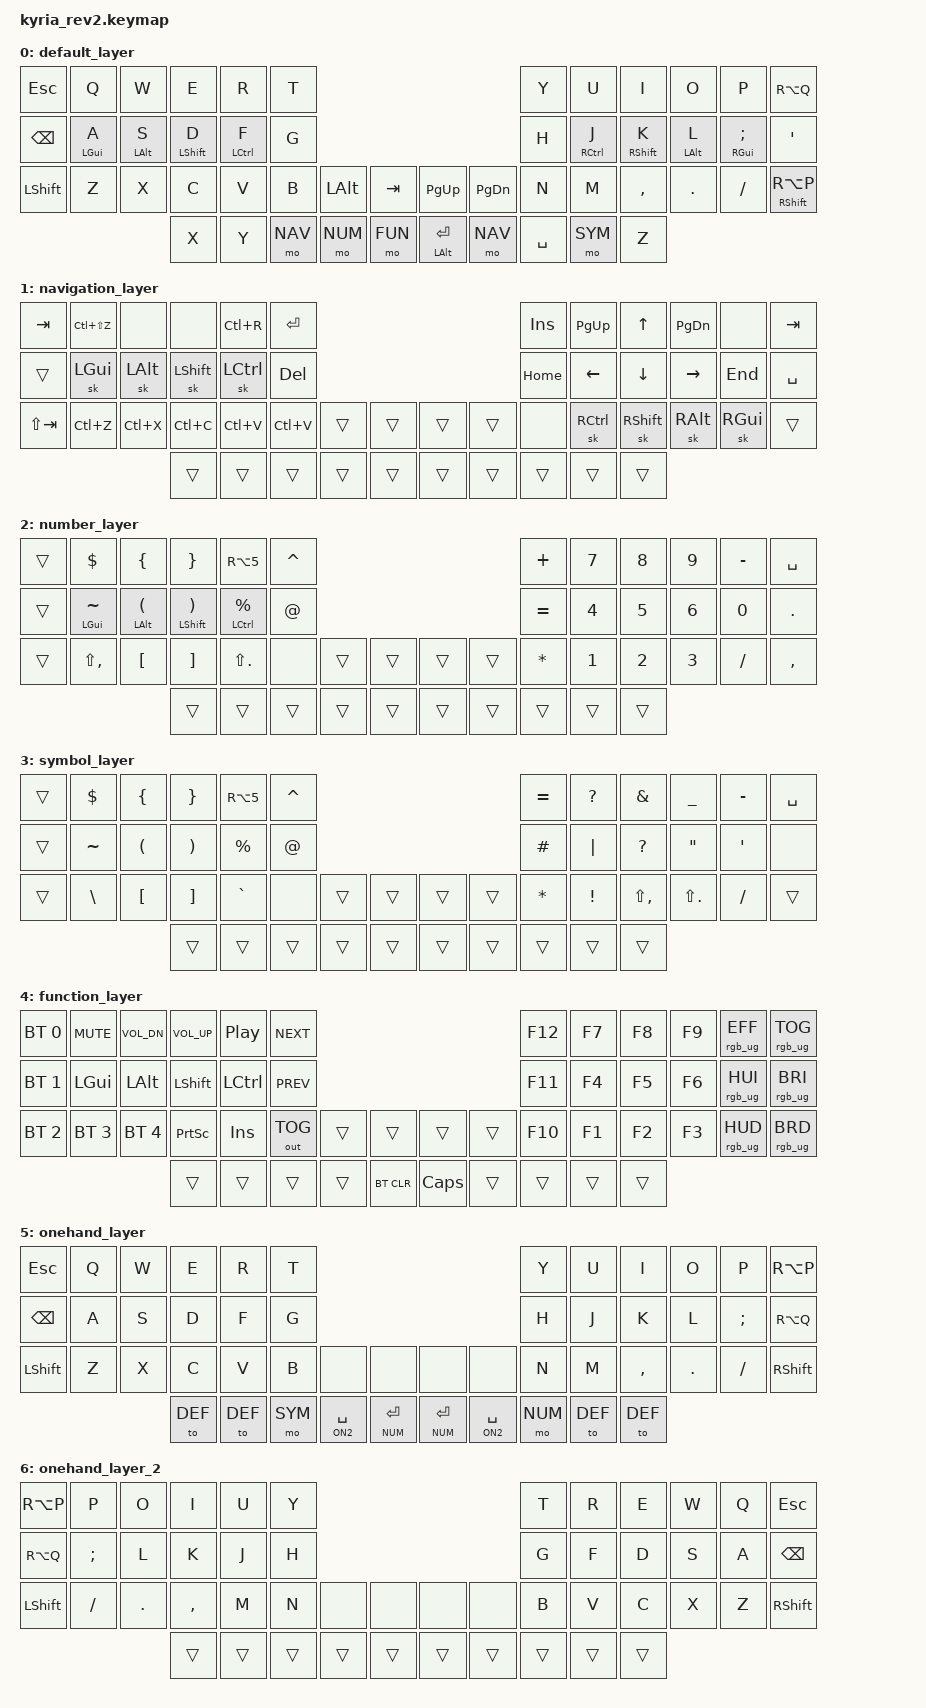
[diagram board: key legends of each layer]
/*
 * Copyright (c) 2020 The ZMK Contributors
 *
 * SPDX-License-Identifier: MIT
 */

#include <behaviors.dtsi>
#include <dt-bindings/zmk/keys.h>
#include <dt-bindings/zmk/bt.h>
#include <dt-bindings/zmk/outputs.h>
#include <dt-bindings/zmk/rgb.h>

#define DEF 0
#define NAV 1
#define NUM 2
#define SYM 3
#define FUN 4
#define ONE 5
#define ON2 6

#define X_UNDO LC(Z)
#define X_REDO LC(LS(Z))
#define X_PASTE LC(V)
#define X_COPY LC(C)
#define X_CUT LC(X)


// Modifiers for left/right side fingers: 4=little 3=ring 2=middle 1=index
#define LM1 LGUI
#define LM2 LALT
#define LM3 LSHFT
#define LM4 LCTRL
#define RM4 RCTRL
#define RM3 RSHFT
#define RM2 LALT
#define RM1 RGUI

#define KP_MULT KP_MULTIPLY
#define KP_DIV KP_DIVIDE

#define COMBO_ALL(NAME, BINDINGS, KEYPOS) \
  combo_##NAME { \
    timeout-ms = <15>; \
    bindings = <BINDINGS>; \
    key-positions = <KEYPOS>; \
  }

#define COMBO_LAYER0(NAME, BINDINGS, KEYPOS) \
  combo_##NAME { \
    timeout-ms = <15>; \
    bindings = <BINDINGS>; \
    key-positions = <KEYPOS>; \
    layers = <0>; \
  }

/ {
	behaviors {
		dk: double-key {
			compatible = "zmk,behavior-hold-tap";
			label = "DOUBLE_KEY";
			#binding-cells = <2>;
			flavor = "tap-preferred";
			tapping-term-ms = <200>;
			quick-tap-ms = <100>;
			#global-quick-tap;
			bindings = <&kp>, <&kp>;
		};
		hm: homerow_mods {
			compatible = "zmk,behavior-hold-tap";
			label = "HOMEROW_MODS";
			#binding-cells = <2>;
			flavor = "tap-preferred";
			tapping-term-ms = <150>;
			quick_tap_ms = <150>;
			bindings = <&kp>, <&kp>;
		};
		lm: left_hand_positional_hold_tap {
			compatible = "zmk,behavior-hold-tap";
			label = "LEFT_HOMEROW_MODS";
			#binding-cells = <2>;
			flavor = "tap-unless-interrupted";
			tapping-term-ms = <100>;
			quick-tap-ms = <200>;
			bindings = <&kp>, <&kp>;
			hold-trigger-key-positions = <6 7 8 9 10 11  18 19 20 21 22 23  34 35 36 37 38 39>;
		};
		rm: right_hand_positional_hold_tap {
			compatible = "zmk,behavior-hold-tap";
			label = "RIGHT_HOMEROW_MODS";
			#binding-cells = <2>;
			flavor = "tap-unless-interrupted";
			tapping-term-ms = <100>;
			quick-tap-ms = <200>;
			bindings = <&kp>, <&kp>;
			hold-trigger-key-positions = <0 1 2 3 4 5  12 13 14 15 16 17  24 25 26 27 28 29>;
		};
	};

//	---------------------------------------------------------------------------------------------------------------------------------
//	| 0   | 1   | 2   | 3   | 4   | 5   |                             | 6   | 7   | 8   | 9   | 10  | 11  |
//	| 12  | 13  | 14  | 15  | 16  | 17  |                             | 18  | 19  | 20  | 21  | 22  | 23  |
//	| 24  | 25  | 26  | 27  | 28  | 29  | 30  | 31  |     | 32  | 33  | 34  | 35  | 36  | 37  | 38  | 39  |
//	                  | 40  | 41  | 42  | 43  | 44  |     | 45  | 46  | 47  | 48  | 49  

	combos {
		compatible = "zmk,combos";

		COMBO_ALL(esc, &kp ESC, 1 2);
		COMBO_ALL(tab, &kp TAB, 9 10);
		COMBO_ALL(enter, &kp ENTER, 37 38);
		COMBO_ALL(bspc, &kp BSPC, 13 14);

		COMBO_ALL(l_ctrl_tab, &kp LC(TAB), 44 0);
		COMBO_ALL(l_ctrl_shift_tab, &kp LC(LC(TAB)), 44 12);

		COMBO_ALL(l_one, &tog ONE, 43 44);

		//COMBO_LAYER0(lctrl, &sk LCTRL, 27 28);
		COMBO_LAYER0(lalt, &sk LALT, 26 28);
		COMBO_LAYER0(lgui, &sk LGUI, 25 28);
		//COMBO_LAYER0(rctrl, &sk RCTRL, 35 36);
		COMBO_LAYER0(rlalt, &sk LALT, 35 37);
		COMBO_LAYER0(rgui, &sk RGUI, 35 38);

		COMBO_LAYER0(caps_word_l, &caps_word, 27 28);
		COMBO_LAYER0(caps_word_r, &caps_word, 37 38);
	};

	conditional_layers {
		compatible = "zmk,conditional-layers";
		tri_layer {
			if-layers = <SYM NUM>;
			then-layer = <FUN>;
		};
	};

	keymap {
		compatible = "zmk,keymap";

		//  Colemak on OS side
		default_layer {
			//	---------------------------------------------------------------------------------------------------------------------------------
			//	| ??? | Q   | W   | E   | R   | T   |                             | Y   | U   | I   | O   | P   | ??? |
			//	| ??? | A   | S   | D   | F   | G   |                             | H   | J   | K   | L   | ;   | '   |
			//	| ??? | Z   | X   | C   | V   | B   | ??? | ??? |     | ??? | ??? | N   | M   | ,   | .   | /   | ??? |
			//	                  | ??? | ??? | ??? | ??? | ??? |     | ??? | ??? | ??? | ??? | ??? |
			bindings = <
	&kp ESC    &kp Q     &kp W     &kp E     &kp R     &kp T                                                &kp Y     &kp U     &kp I      &kp O     &kp P        &kp RA(Q)
	&kp BSPC   &hm LM1 A &hm LM2 S &hm LM3 D &hm LM4 F &kp G                                                &kp H     &hm RM4 J &hm RM3 K  &hm RM2 L &hm RM1 SEMI &kp SQT
	&kp LSHFT  &kp Z     &kp X     &kp C     &kp V     &kp B    &kp LALT &kp TAB     &kp PG_UP    &kp PG_DN &kp N     &kp M     &kp COMMA  &kp DOT   &kp FSLH     &mt RSHFT RA(P)
	                               &kp X     &kp Y     &mo NAV  &mo NUM  &mo FUN     &mt LALT RET &mo NAV   &kp SPACE &mo SYM   &kp Z
			>;
		};

		navigation_layer {
			bindings = <
	&kp TAB     &kp LC(LS(Z)) &none     &none      &kp LC(R) &kp RET                                   &kp INS   &kp PG_UP  &kp UP    &kp PG_DN  &none     &kp TAB
	&trans      &sk LM1       &sk LM2   &sk LM3    &sk LM4   &kp DEL                                   &kp HOME  &kp LEFT   &kp DOWN  &kp RIGHT  &kp END   &kp SPACE
	&kp LS(TAB) &kp LC(Z)     &kp LC(X) &kp LC(C)  &kp LC(V) &kp X_PASTE &trans &trans   &trans &trans &none     &sk RCTRL  &sk RSHFT &sk RALT   &sk RGUI  &trans
	                                    &trans     &trans    &trans      &trans &trans   &trans &trans &trans    &trans     &trans
			>;
		};

		number_layer {
			//	---------------------------------------------------------------------------------------------------------------------------------
			//	|     | $   | {   | }   | €   | ^   |                             | -   | 7   | 8   | 9   | +   | /s  |
			//	|     | ~ X | ( X | ) X | % X | @   |                             | =   | 4   | 5   | 6   | 0   | .   |
			//	|     | <   | [   | ]   | >   |     | --- | --- |     | --- | --- | *   | 1   | 2   | 3   | /   | ,   |
			//	                  | --- | --- | --- | --- | --- |     | --- | --- | --- | --- | --- |
			bindings = <
	&trans  &kp DLLR       &kp LBRC      &kp RBRC      &kp RA(N5)    &kp CARET                                &kp PLUS  &kp N7  &kp N8  &kp N9  &kp MINUS &kp SPACE
	&trans  &mt LM1 TILDE  &mt LM2 LPAR  &mt LM3 RPAR  &mt LM4 PRCNT &kp AT                                   &kp EQUAL &kp N4  &kp N5  &kp N6  &kp N0    &kp DOT
	&trans  &kp LS(COMMA)  &kp LBKT      &kp RBKT      &kp LS(DOT)   &none      &trans &trans   &trans &trans &kp STAR  &kp N1  &kp N2  &kp N3  &kp FSLH  &kp COMMA
	                                     &trans        &trans        &trans     &trans &trans   &trans &trans &trans    &trans  &trans
			>;
		};

		symbol_layer {
			//	---------------------------------------------------------------------------------------------------------------------------------
			//	|     | $   | {   | }   | €   | ^   |                             | =   | ?   | &   | _   | -   |     |
			//	|     | ~   | (   | )   | %   | @   |                             | *   | |   | '   | "   | '   |     |
			//	|     | \   | [   | ]   | `   |     | --- | --- |     | --- | --- | #   | !   | <   | >   | /   |     |
			//	                  | --- | --- | --- | --- | --- |     | --- | --- | --- | --- | --- |
			bindings = <
	&trans  &kp DLLR  &kp LBRC  &kp RBRC  &kp RA(N5) &kp CARET                                &kp EQUAL &kp QMARK &kp AMPS      &kp UNDER   &kp MINUS &kp SPACE
	&trans  &kp TILDE &kp LPAR  &kp RPAR  &kp PRCNT  &kp AT                                   &kp HASH  &kp PIPE  &kp QMARK     &kp DQT     &kp SQT   &none
	&trans  &kp BSLH  &kp LBKT  &kp RBKT  &kp GRAVE  &none      &trans &trans   &trans &trans &kp STAR  &kp EXCL  &kp LS(COMMA) &kp LS(DOT) &kp FSLH  &trans
	                            &trans    &trans     &trans     &trans &trans   &trans &trans &trans    &trans    &trans
			>;
		};

		function_layer {
			bindings = <
	&bt BT_SEL 0 &kp C_MUTE   &kp C_VOL_DN &kp C_VOL_UP &kp C_PLAY_PAUSE &kp C_NEXT                                       &kp F12 &kp F7 &kp F8 &kp F9 &rgb_ug RGB_EFF &rgb_ug RGB_TOG
	&bt BT_SEL 1 &kp LM1      &kp LM2      &kp LM3      &kp LM4          &kp C_PREV                                       &kp F11 &kp F4 &kp F5 &kp F6 &rgb_ug RGB_HUI &rgb_ug RGB_BRI
	&bt BT_SEL 2 &bt BT_SEL 3 &bt BT_SEL 4 &kp PSCRN    &kp INS          &out OUT_TOG &trans &trans       &trans   &trans &kp F10 &kp F1 &kp F2 &kp F3 &rgb_ug RGB_HUD &rgb_ug RGB_BRD
	                                       &trans       &trans           &trans       &trans &bt BT_CLR   &kp CAPS &trans &trans  &trans &trans
			>;
		};

//		onehand_layer {
//			//	---------------------------------------------------------------------------------------------------------------------------------
//			//	| ??? | Q   | W   | E   | R   | T   |                             | Y   | U   | I   | O   | P   | ??? |
//			//	| ??? | A   | S   | D   | F   | G   |                             | H   | J   | K   | L   | ;   | ??? |
//			//	| ??? | Z   | X   | C   | V   | B   | ??? | ??? |     | ??? | ??? | N   | M   | ,   | .   | /   | ??? |
//			//	                  | ??? | ??? | ??? | ??? | ??? |     | ??? | ??? | ??? | ??? | ??? |
//			bindings = <
//	&kp ESC     &dk Q RA(Q) &dk W O   &dk E I     &dk R U  &dk T Y                                                 &dk Y T  &dk U R  &dk I E     &dk O W   &dk P Q    &kp RA(P)
//	&kp BSPC    &dk A RA(P) &dk S L   &dk D L     &dk F J  &dk G H                                                 &dk H G  &dk J F  &dk K D     &dk L S   &dk SEMI A &kp RA(Q)
//	&kp LSHFT   &dk Z FSLH  &dk X DOT &dk C COMMA &dk V M  &dk B N  &none         &none     &none        &none         &dk N B  &dk M V  &dk COMMA C &dk DOT X &dk FSLH Z &kp RSHIFT
//	                                  &to DEF     &to DEF  &mo SYM  &lt ON2 SPACE &kp RET   &mt LALT RET &lt SYM SPACE &mo NUM  &to DEF  &to DEF
//			>;
//		};

		onehand_layer {
			//	---------------------------------------------------------------------------------------------------------------------------------
			//	| ??? | Q   | W   | E   | R   | T   |                             | Y   | U   | I   | O   | P   | ??? |
			//	| ??? | A   | S   | D   | F   | G   |                             | H   | J   | K   | L   | ;   | ??? |
			//	| ??? | Z   | X   | C   | V   | B   | ??? | ??? |     | ??? | ??? | N   | M   | ,   | .   | /   | ??? |
			//	                  | ??? | ??? | ??? | ??? | ??? |     | ??? | ??? | ??? | ??? | ??? |
			bindings = <
	&kp ESC   &kp Q  &kp W  &kp E   &kp R   &kp T                                                         &kp Y   &kp U   &kp I     &kp O   &kp P    &kp RA(P)
	&kp BSPC  &kp A  &kp S  &kp D   &kp F   &kp G                                                         &kp H   &kp J   &kp K     &kp L   &kp SEMI &kp RA(Q)
	&kp LSHFT &kp Z  &kp X  &kp C   &kp V   &kp B   &none         &none         &none       &none         &kp N   &kp M   &kp COMMA &kp DOT &kp FSLH &kp RSHIFT
	                        &to DEF &to DEF &mo SYM &lt ON2 SPACE &lt NUM RET   &lt NUM RET &lt ON2 SPACE &mo NUM &to DEF &to DEF
			>;
		};

		onehand_layer_2 {
			bindings = <
	&kp RA(P) &kp P    &kp O   &kp I     &kp U  &kp Y                                &kp T  &kp R  &kp E  &kp W  &kp Q  &kp ESC
	&kp RA(Q) &kp SEMI &kp L   &kp K     &kp J  &kp H                                &kp G  &kp F  &kp D  &kp S  &kp A  &kp BSPC
	&kp LSHFT &kp FSLH &kp DOT &kp COMMA &kp M  &kp N  &none  &none    &none  &none  &kp B  &kp V  &kp C  &kp X  &kp Z  &kp RSHIFT
	                           &trans    &trans &trans &trans &trans   &trans &trans &trans &trans &trans
			>;
		};
	};
};
